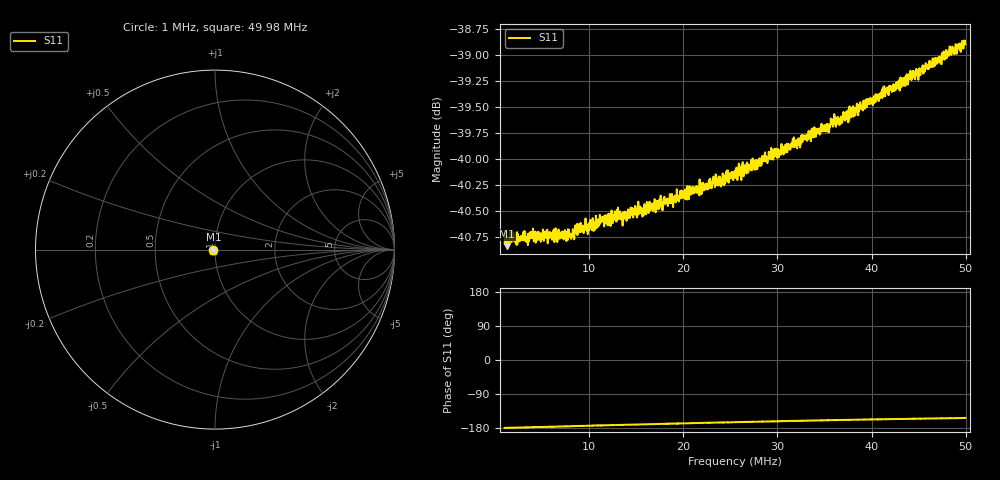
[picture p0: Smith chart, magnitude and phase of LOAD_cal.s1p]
! Created with skrf (http://scikit-rf.org).
# Hz S RI R 50.0
!freq ReS11 ImS11
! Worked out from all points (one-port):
!   2000 points, 1 MHz to 49.98 MHz, reference 50 ohm
!   lowest |S11| = -40.8 dB at 1.27 MHz (marker M1), VSWR 1.02, Z = 49.1 - j0.00924 ohm
!   |S11| at or under -10 dB: start of sweep to end of sweep
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1000000  -0.00923 -0.000167
1269500  -0.00908 -9.41e-05
1735000  -0.00911 -0.000242
3303000  -0.00914 -0.000375
3817500  -0.00915 -0.000445
7125000  -0.00915 -0.000749
8154000  -0.00916 -0.000851
8693000  -0.00915 -0.000974
1.0016e7  -0.00919 -0.0011
1.13635e7  -0.00928 -0.00124
1.325e7  -0.00933 -0.0014
1.9375e7  -0.00938 -0.00205
2.2413e7  -0.00943 -0.00239
2.2952e7  -0.00941 -0.0025
2.42015e7  -0.00946 -0.00258
2.55e7  -0.00947 -0.00269
3.1135e7  -0.00963 -0.00325
3.1625e7  -0.00966 -0.00333
3.22865e7  -0.00957 -0.00339
3.2752e7  -0.00965 -0.00347
3.53735e7  -0.00965 -0.0038
3.59125e7  -0.00972 -0.0038
3.67455e7  -0.00974 -0.00388
3.775e7  -0.00974 -0.00398
4.3875e7  -0.00993 -0.00454
4.75745e7  -0.0101 -0.00496
4.8432e7  -0.01 -0.00505
4.99755e7  -0.0101 -0.00521
